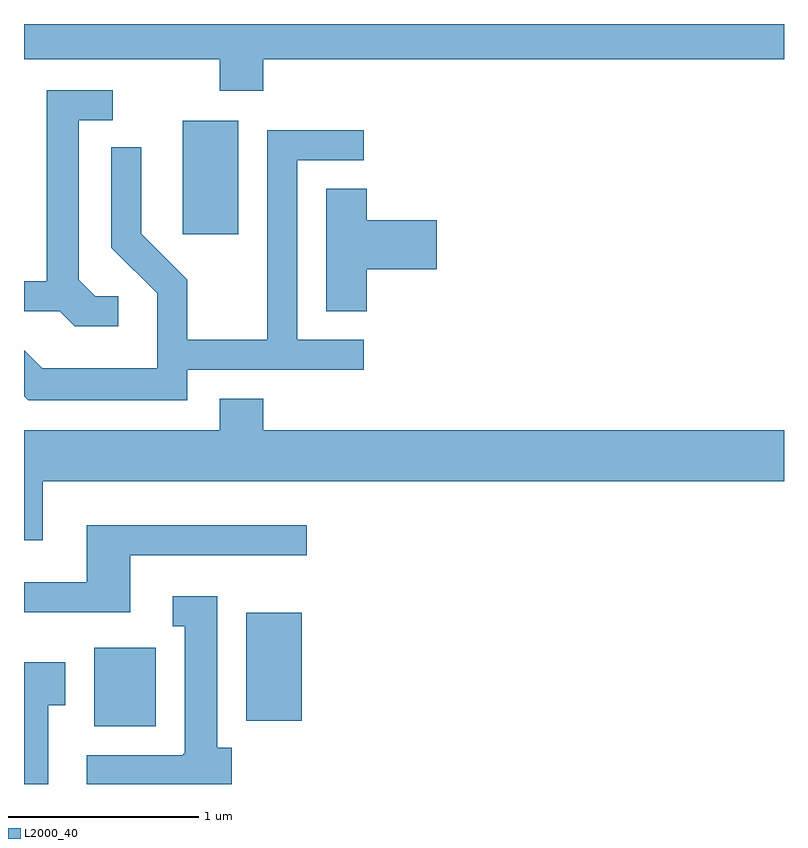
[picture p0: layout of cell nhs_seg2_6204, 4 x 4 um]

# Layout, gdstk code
import gdstk
lib = gdstk.Library(unit=1e-6, precision=1e-09)
def R(c, l, rs):  # rectangles x0, y0, x1, y1
    for r in rs: c.add(gdstk.rectangle(r[:2], r[2:], *l))
def P(c, l, *ps):  # polygons
    for p in ps: c.add(gdstk.Polygon(p, *l))
L2000_40 = (2000, 40)

nhs_seg2_6204 = lib.new_cell('nhs_seg2_6204')
R(nhs_seg2_6204, L2000_40, [(367.981,1078.106,368.304,1078.519), (368.781,1078.136,369.074,1078.704), (368.446,1080.696,368.739,1081.294)])
P(nhs_seg2_6204, L2000_40, [(368.869,1081.616),(371.611,1081.616),(371.611,1081.802),(367.611,1081.802),(367.611,1081.616),(368.641,1081.616),(368.641,1081.451),(368.869,1081.451)],
  [(368.108,1080.369),(367.987,1080.369),(367.899,1080.457),(367.899,1081.296),(368.078,1081.296),(368.078,1081.454),(367.731,1081.454),(367.731,1080.449),(367.611,1080.449),(367.611,1080.291),(367.799,1080.291),(367.879,1080.211),(368.108,1080.211)],
  [(368.469,1079.981),(369.398,1079.981),(369.398,1080.139),(369.049,1080.139),(369.049,1081.086),(369.398,1081.086),(369.398,1081.244),(368.891,1081.244),(368.891,1080.139),(368.469,1080.139),(368.469,1080.457),(368.229,1080.697),(368.229,1081.153),(368.071,1081.153),(368.071,1080.624),(368.311,1080.384),(368.311,1079.989),(367.707,1079.989),(367.611,1080.085),(367.611,1079.844),(367.634,1079.821),(368.469,1079.821)],
  [(369.414,1080.511),(369.784,1080.511),(369.784,1080.769),(369.414,1080.769),(369.414,1080.934),(369.201,1080.934),(369.201,1080.291),(369.414,1080.291)],
  [(367.709,1079.396),(371.611,1079.396),(371.611,1079.664),(368.869,1079.664),(368.869,1079.829),(368.641,1079.829),(368.641,1079.664),(367.611,1079.664),(367.611,1079.086),(367.709,1079.086)],
  [(368.169,1079.006),(369.098,1079.006),(369.098,1079.164),(367.941,1079.164),(367.941,1078.864),(367.611,1078.864),(367.611,1078.706),(368.169,1078.706)],
  [(368.704,1077.994),(368.629,1077.994),(368.629,1078.789),(368.393,1078.789),(368.393,1078.631),(368.456,1078.631),(368.456,1077.96),(368.45,1077.96),(368.45,1077.954),(367.941,1077.954),(367.941,1077.802),(368.704,1077.802)],
  [(367.739,1078.216),(367.829,1078.216),(367.829,1078.444),(367.611,1078.444),(367.611,1077.802),(367.739,1077.802)])

lib.write_gds('nhs_seg2_6204.gds')
